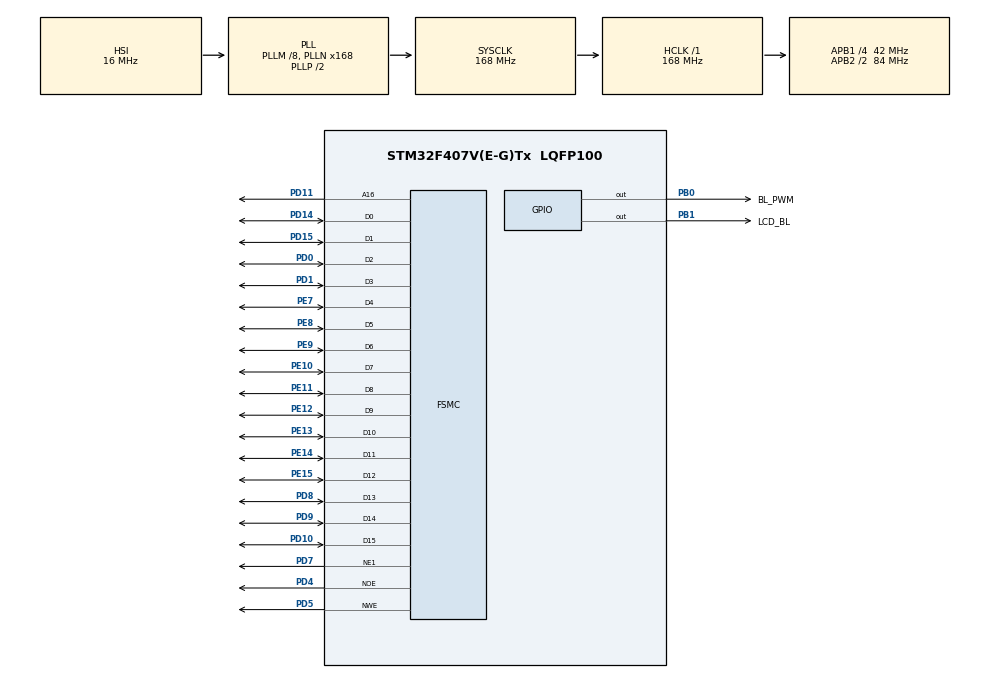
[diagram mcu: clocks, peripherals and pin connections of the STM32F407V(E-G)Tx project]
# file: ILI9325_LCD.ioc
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FSMC.BusTurnAroundDuration1=0
FSMC.DataSetupTime1=29
FSMC.ExtendedAddressSetupTime1=7
FSMC.ExtendedBusTurnAroundDuration1=0
FSMC.ExtendedDataSetupTime1=7
FSMC.ExtendedMode1=FSMC_EXTENDED_MODE_ENABLE
Mcu.Family=STM32F4
Mcu.Name=STM32F407V(E-G)Tx
Mcu.Package=LQFP100
NVIC.PriorityGroup=NVIC_PRIORITYGROUP_4
NVIC.TIM2_IRQn=true\:0\:0\:false\:false\:true\:true\:true\:true
PB0.GPIO_Label=BL_PWM
PB0.PinState=GPIO_PIN_SET
PB0.Signal=GPIO_Output
PB1.GPIO_Label=LCD_BL
PB1.PinState=GPIO_PIN_SET
PB1.Signal=GPIO_Output
PD0.Mode=16b-d1
PD0.Signal=FSMC_D2
PD1.Mode=16b-d1
PD1.Signal=FSMC_D3
PD10.Mode=16b-d1
PD10.Signal=FSMC_D15
PD11.Mode=A16_1
PD11.Signal=FSMC_A16
PD14.Mode=16b-d1
PD14.Signal=FSMC_D0
PD15.Mode=16b-d1
PD15.Signal=FSMC_D1
PD4.Mode=Lcd1
PD4.Signal=FSMC_NOE
PD5.Mode=Lcd1
PD5.Signal=FSMC_NWE
PD7.Mode=NorPsramChipSelect1_1
PD7.Signal=FSMC_NE1
PD8.Mode=16b-d1
PD8.Signal=FSMC_D13
PD9.Mode=16b-d1
PD9.Signal=FSMC_D14
PE10.Mode=16b-d1
PE10.Signal=FSMC_D7
PE11.Mode=16b-d1
PE11.Signal=FSMC_D8
PE12.Mode=16b-d1
PE12.Signal=FSMC_D9
PE13.Mode=16b-d1
PE13.Signal=FSMC_D10
PE14.Mode=16b-d1
PE14.Signal=FSMC_D11
PE15.Mode=16b-d1
PE15.Signal=FSMC_D12
PE7.Mode=16b-d1
PE7.Signal=FSMC_D4
PE8.Mode=16b-d1
PE8.Signal=FSMC_D5
PE9.Mode=16b-d1
PE9.Signal=FSMC_D6
ProjectManager.HeapSize=0x200
ProjectManager.StackSize=0x400
ProjectManager.TargetToolchain=STM32CubeIDE
RCC.48MHZClocksFreq_Value=84000000
RCC.AHBFreq_Value=168000000
RCC.APB1CLKDivider=RCC_HCLK_DIV4
RCC.APB1Freq_Value=42000000
RCC.APB1TimFreq_Value=84000000
RCC.APB2CLKDivider=RCC_HCLK_DIV2
RCC.APB2Freq_Value=84000000
RCC.APB2TimFreq_Value=168000000
RCC.CortexFreq_Value=168000000
RCC.HCLKFreq_Value=168000000
RCC.HSE_VALUE=25000000
RCC.HSI_VALUE=16000000
RCC.LSE_VALUE=32768
RCC.PLLM=8
RCC.PLLN=168
RCC.SYSCLKFreq_VALUE=168000000
RCC.SYSCLKSource=RCC_SYSCLKSOURCE_PLLCLK
RCC.VCOOutputFreq_Value=336000000
TIM2.Period=84000000-1
VP_TIM2_VS_ClockSourceINT.Mode=Internal
VP_TIM2_VS_OPM.Mode=OPM_bit
board=custom

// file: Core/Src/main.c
/* USER CODE BEGIN Header */
/**
  ******************************************************************************
  * @file           : main.c
  * @brief          : Main program body
  ******************************************************************************
  * @attention
  *
  * Copyright (c) 2025 STMicroelectronics.
  * All rights reserved.
  *
  * This software is licensed under terms that can be found in the LICENSE file
  * in the root directory of this software component.
  * If no LICENSE file comes with this software, it is provided AS-IS.
  *
  ******************************************************************************
  */
/* USER CODE END Header */
#include "main.h"

/* USER CODE BEGIN Includes */
#include "openx07v_c_lcd.h"
#include "fonts.h"
/* USER CODE END Includes */

TIM_HandleTypeDef htim2;

SRAM_HandleTypeDef hsram1;

/* USER CODE BEGIN PV */
uint8_t idx[13];
uint8_t idy[13];
volatile u32 my_cntr ;
volatile u32 my_ctrl ;
/* USER CODE END PV */

void SystemClock_Config(void);
static void MX_GPIO_Init(void);
static void MX_FSMC_Init(void);
static void MX_TIM2_Init(void);

int main(void)
{

  /* MCU Configuration--------------------------------------------------------*/

  /* Reset of all peripherals, Initializes the Flash interface and the Systick. */
  HAL_Init();

  /* Configure the system clock */
  SystemClock_Config();

  /* Initialize all configured peripherals */
  MX_GPIO_Init();
  MX_FSMC_Init();
  MX_TIM2_Init();
  /* USER CODE BEGIN 2 */

  BSP_LCD_Init();
  BSP_LCD_SetFont(&Font24);

  BSP_LCD_Clear(LCD_COLOR_BLACK);

  /* USER CODE END 2 */

  /* Infinite loop */
  /* USER CODE BEGIN WHILE */
  while (1)
  {
//*************************************************************************************

	  BSP_LCD_SetBackColor(LCD_COLOR_BLACK);
	  BSP_LCD_SetTextColor(LCD_COLOR_YELLOW);
	  HAL_TIM_Base_Stop_IT(&htim2);
	  TIM2->CR1 = 0;
	  TIM2->ARR = 83999999;
	  my_cntr = 0;
	  my_ctrl = 0;

	  TIM2->PSC = 0;
	  TIM2->CNT = 0;
	  HAL_TIM_Base_Start_IT(&htim2);

	  while(my_ctrl == 0) {
		  for(u16 i1 = 0; i1 < 240; i1++) {
			  for(u16 i2 = 0; i2 < 320; i2++) {
				  my_cntr++;
					LCD_REG = LCD_REG_32;
					LCD_RAM =  (239 - i1);
					LCD_REG = LCD_REG_33;
					LCD_RAM = i2;

					/* Prepare to write GRAM */
					LCD_REG = LCD_REG_34;

					/* Write 16-bit GRAM Reg */
					LCD_RAM = 0xF100;
			  }
		  }
	  }
	  HAL_TIM_Base_Stop_IT(&htim2);

	  BSP_LCD_DisplayStringAt(0, 85 , (uint8_t*) "DOTS / sec." , CENTER_MODE );
	  BSP_LCD_DisplayStringAt(0, 135, idx, CENTER_MODE);
	  HAL_Delay(2000);

	  BSP_LCD_Clear(LCD_COLOR_BLACK);

	  RCC->APB1ENR |= RCC_APB1ENR_TIM2EN ;
	  __DSB();

	  LCD_REG = 0;
	  u32 dr_id = 0;
	  dr_id = LCD_RAM;

	  my_htoa32(idx, dr_id);

	  BSP_LCD_DisplayStringAt(0, 85, (uint8_t*) "LCD DRIVER", CENTER_MODE);
	  BSP_LCD_DisplayStringAt(0, 125, (uint8_t*) "     ILI" , LEFT_MODE);

	  BSP_LCD_DisplayStringAt(140, 125, &idx[6], LEFT_MODE);

	  HAL_Delay(1500);

	  TIM2->CR1 = 0;
	  TIM2->PSC = 0;
	  TIM2->CNT = 0;
	  TIM2->ARR = 0xffffffff;
	  TIM2->CR1 = 1;

	  u32 cntr = 0;

	  while(TIM2->CNT < 84000000) {
		  cntr++;
		  LCD_REG = 0x50;
		  LCD_RAM = 0;
		  LCD_REG = 0x51;
		  LCD_RAM = 239;
		  LCD_REG = 0x52;
		  LCD_RAM = 0;
		  LCD_REG = 0x53;
		  LCD_RAM = 319;
		  LCD_REG = 0x22;
		  for(u32 i = 0; i < 76800; i++ ) {
			  LCD_RAM = 0x1f;
		  }
	  }
	  TIM2->CR1 = 0;

	  my_utoa(idx, cntr);
	  BSP_LCD_DisplayStringAt(0, 95, idx, CENTER_MODE);
	  BSP_LCD_DisplayStringAt(0, 60, (uint8_t*) "CLS FRAMES", CENTER_MODE);
	  BSP_LCD_DisplayStringAt(0, 135, (uint8_t*) "PER SECOND", CENTER_MODE);

	HAL_Delay(1500);

//*************************************************************************************
    /* USER CODE END WHILE */

    /* USER CODE BEGIN 3 */
	  BSP_LCD_Clear(LCD_COLOR_BLACK);
	  BSP_LCD_SetBackColor(LCD_COLOR_BLACK);
	  BSP_LCD_SetTextColor(LCD_COLOR_YELLOW);

	  BSP_LCD_DisplayStringAt(0, 95, (uint8_t *)"Copyright(c)", CENTER_MODE);
	  BSP_LCD_DisplayStringAt(0, 125, (uint8_t *)"Waveshare", CENTER_MODE);

	  HAL_Delay(1500);

	  BSP_LCD_Clear(LCD_COLOR_BLUE);
	  BSP_LCD_SetBackColor(LCD_COLOR_BLUE);
	  BSP_LCD_SetTextColor(LCD_COLOR_WHITE);
	  BSP_LCD_DisplayStringAt(0, 95, (uint8_t *)"ILI9325 DRIVER", CENTER_MODE);
	  BSP_LCD_DisplayStringAt(0, 125, (uint8_t *)"3.2inch LCD Demo", CENTER_MODE);
	  HAL_Delay(1500);
  }
  /* USER CODE END 3 */
}

void SystemClock_Config(void)
{
  RCC_OscInitTypeDef RCC_OscInitStruct = {0};
  RCC_ClkInitTypeDef RCC_ClkInitStruct = {0};

  /** Configure the main internal regulator output voltage
  */
  __HAL_RCC_PWR_CLK_ENABLE();
  __HAL_PWR_VOLTAGESCALING_CONFIG(PWR_REGULATOR_VOLTAGE_SCALE1);

  /** Initializes the RCC Oscillators according to the specified parameters
  * in the RCC_OscInitTypeDef structure.
  */
  RCC_OscInitStruct.OscillatorType = RCC_OSCILLATORTYPE_HSI;
  RCC_OscInitStruct.HSIState = RCC_HSI_ON;
  RCC_OscInitStruct.HSICalibrationValue = RCC_HSICALIBRATION_DEFAULT;
  RCC_OscInitStruct.PLL.PLLState = RCC_PLL_ON;
  RCC_OscInitStruct.PLL.PLLSource = RCC_PLLSOURCE_HSI;
  RCC_OscInitStruct.PLL.PLLM = 8;
  RCC_OscInitStruct.PLL.PLLN = 168;
  RCC_OscInitStruct.PLL.PLLP = RCC_PLLP_DIV2;
  RCC_OscInitStruct.PLL.PLLQ = 4;
  if (HAL_RCC_OscConfig(&RCC_OscInitStruct) != HAL_OK)
  {
    Error_Handler();
  }

  /** Initializes the CPU, AHB and APB buses clocks
  */
  RCC_ClkInitStruct.ClockType = RCC_CLOCKTYPE_HCLK|RCC_CLOCKTYPE_SYSCLK
                              |RCC_CLOCKTYPE_PCLK1|RCC_CLOCKTYPE_PCLK2;
  RCC_ClkInitStruct.SYSCLKSource = RCC_SYSCLKSOURCE_PLLCLK;
  RCC_ClkInitStruct.AHBCLKDivider = RCC_SYSCLK_DIV1;
  RCC_ClkInitStruct.APB1CLKDivider = RCC_HCLK_DIV4;
  RCC_ClkInitStruct.APB2CLKDivider = RCC_HCLK_DIV2;

  if (HAL_RCC_ClockConfig(&RCC_ClkInitStruct, FLASH_LATENCY_5) != HAL_OK)
  {
    Error_Handler();
  }
}

static void MX_TIM2_Init(void)
{

  TIM_ClockConfigTypeDef sClockSourceConfig = {0};
  TIM_MasterConfigTypeDef sMasterConfig = {0};

  htim2.Instance = TIM2;
  htim2.Init.Prescaler = 0;
  htim2.Init.CounterMode = TIM_COUNTERMODE_UP;
  htim2.Init.Period = 84000000-1;
  htim2.Init.ClockDivision = TIM_CLOCKDIVISION_DIV1;
  htim2.Init.AutoReloadPreload = TIM_AUTORELOAD_PRELOAD_DISABLE;
  if (HAL_TIM_Base_Init(&htim2) != HAL_OK)
  {
    Error_Handler();
  }
  sClockSourceConfig.ClockSource = TIM_CLOCKSOURCE_INTERNAL;
  if (HAL_TIM_ConfigClockSource(&htim2, &sClockSourceConfig) != HAL_OK)
  {
    Error_Handler();
  }
  if (HAL_TIM_OnePulse_Init(&htim2, TIM_OPMODE_SINGLE) != HAL_OK)
  {
    Error_Handler();
  }
  sMasterConfig.MasterOutputTrigger = TIM_TRGO_RESET;
  sMasterConfig.MasterSlaveMode = TIM_MASTERSLAVEMODE_DISABLE;
  if (HAL_TIMEx_MasterConfigSynchronization(&htim2, &sMasterConfig) != HAL_OK)
  {
    Error_Handler();
  }

}

static void MX_GPIO_Init(void)
{
  GPIO_InitTypeDef GPIO_InitStruct = {0};

  /* GPIO Ports Clock Enable */
  __HAL_RCC_GPIOB_CLK_ENABLE();
  __HAL_RCC_GPIOE_CLK_ENABLE();
  __HAL_RCC_GPIOD_CLK_ENABLE();

  /*Configure GPIO pin Output Level */
  HAL_GPIO_WritePin(GPIOB, BL_PWM_Pin|LCD_BL_Pin, GPIO_PIN_SET);

  /*Configure GPIO pins : BL_PWM_Pin LCD_BL_Pin */
  GPIO_InitStruct.Pin = BL_PWM_Pin|LCD_BL_Pin;
  GPIO_InitStruct.Mode = GPIO_MODE_OUTPUT_PP;
  GPIO_InitStruct.Pull = GPIO_NOPULL;
  GPIO_InitStruct.Speed = GPIO_SPEED_FREQ_LOW;
  HAL_GPIO_Init(GPIOB, &GPIO_InitStruct);

}

/* FSMC initialization function */
static void MX_FSMC_Init(void)
{

  FSMC_NORSRAM_TimingTypeDef Timing = {0};
  FSMC_NORSRAM_TimingTypeDef ExtTiming = {0};

  /** Perform the SRAM1 memory initialization sequence
  */
  hsram1.Instance = FSMC_NORSRAM_DEVICE;
  hsram1.Extended = FSMC_NORSRAM_EXTENDED_DEVICE;
  /* hsram1.Init */
  hsram1.Init.NSBank = FSMC_NORSRAM_BANK1;
  hsram1.Init.DataAddressMux = FSMC_DATA_ADDRESS_MUX_DISABLE;
  hsram1.Init.MemoryType = FSMC_MEMORY_TYPE_SRAM;
  hsram1.Init.MemoryDataWidth = FSMC_NORSRAM_MEM_BUS_WIDTH_16;
  hsram1.Init.BurstAccessMode = FSMC_BURST_ACCESS_MODE_DISABLE;
  hsram1.Init.WaitSignalPolarity = FSMC_WAIT_SIGNAL_POLARITY_LOW;
  hsram1.Init.WrapMode = FSMC_WRAP_MODE_DISABLE;
  hsram1.Init.WaitSignalActive = FSMC_WAIT_TIMING_BEFORE_WS;
  hsram1.Init.WriteOperation = FSMC_WRITE_OPERATION_ENABLE;
  hsram1.Init.WaitSignal = FSMC_WAIT_SIGNAL_DISABLE;
  hsram1.Init.ExtendedMode = FSMC_EXTENDED_MODE_ENABLE;
  hsram1.Init.AsynchronousWait = FSMC_ASYNCHRONOUS_WAIT_DISABLE;
  hsram1.Init.WriteBurst = FSMC_WRITE_BURST_DISABLE;
  hsram1.Init.PageSize = FSMC_PAGE_SIZE_NONE;
  /* Timing */
  Timing.AddressSetupTime = 15;
  Timing.AddressHoldTime = 15;
  Timing.DataSetupTime = 29;
  Timing.BusTurnAroundDuration = 0;
  Timing.CLKDivision = 16;
  Timing.DataLatency = 17;
  Timing.AccessMode = FSMC_ACCESS_MODE_A;
  /* ExtTiming */
  ExtTiming.AddressSetupTime = 7;
  ExtTiming.AddressHoldTime = 15;
  ExtTiming.DataSetupTime = 7;
  ExtTiming.BusTurnAroundDuration = 0;
  ExtTiming.CLKDivision = 16;
  ExtTiming.DataLatency = 17;
  ExtTiming.AccessMode = FSMC_ACCESS_MODE_A;

  if (HAL_SRAM_Init(&hsram1, &Timing, &ExtTiming) != HAL_OK)
  {
    Error_Handler( );
  }

}

void Error_Handler(void)
{
  __disable_irq();
  while (1)
  {
  }
}
